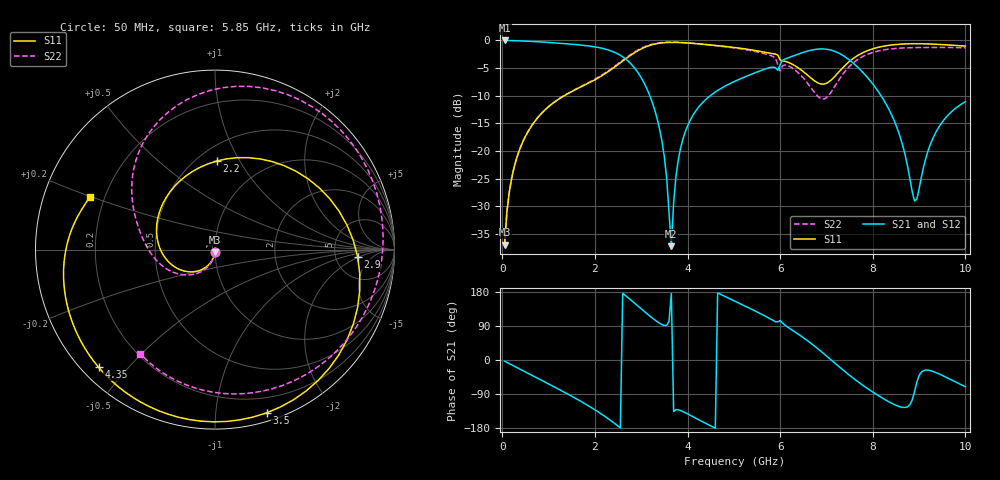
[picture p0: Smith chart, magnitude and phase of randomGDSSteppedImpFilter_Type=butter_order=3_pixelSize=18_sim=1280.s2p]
! freq	dB(S11)	phase(S11)	dB(S12)	phase(S12)
!  dB(S21)	phase(S21)	dB(S22)	phase(S22)
!S-par simulation data
#  GHz  S  DB  R 50
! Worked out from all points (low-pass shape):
!   200 points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, 50 MHz to 10 GHz, reference 50 ohm
!   highest |S21| = -0.01 dB at 50 MHz (marker M1); lowest = -37.2 dB at 3.65 GHz (marker M2)
!   |S21| within 3 dB of the highest: start of sweep to 2.607 GHz; 6.216 GHz to 7.409 GHz (1.193 GHz wide, 17.5 % of centre)
!   lowest |S11| = -36.9 dB at 50 MHz (marker M3), VSWR 1.03, Z = 49.9 - j1.42 ohm
!   |S11| at or under -10 dB: start of sweep to 1.337 GHz
!   |S22| runs from -36.9 to -0.3 dB; largest |S21 - S12| = 0
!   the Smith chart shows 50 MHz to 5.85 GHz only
!   S11 on the Smith chart (normalised r, x): 50 MHz: 1.00, -0.03; 2.2 GHz: 0.62, +0.81; 2.9 GHz: 8.38, -1.80; 3.5 GHz: 0.07, -1.36; 4.35 GHz: 0.05, -0.42; 5.85 GHz: 0.14, +0.20
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0.05  -36.93 -92.7  -0.01 -3.2  -0.01 -3.2  -36.93 -92.3
0.2  -25.03 -103.6  -0.03 -12.7  -0.03 -12.7  -25.02 -102.1
0.5  -17.35 -124.1  -0.12 -31.6  -0.12 -31.6  -17.34 -120.0
1.15  -11.01 -170.6  -0.46 -72.8  -0.46 -72.8  -10.98 -156.3
1.75  -8.20 137.8  -0.89 -113.0  -0.89 -113.0  -8.12 174.6
2.2  -6.12 88.6  -1.51 -147.5  -1.51 -147.5  -5.99 154.3
2.9  -1.99 -2.8  -5.47 145.3  -5.47 145.3  -1.85 109.0
3.4  -0.50 -62.5  -16.17 96.8  -16.17 96.8  -0.41 64.8
3.5  -0.41 -72.5  -21.12 91.0  -21.12 91.0  -0.33 56.1
3.65  -0.36 -86.2  -37.22 175.3  -37.22 175.3  -0.30 43.4
3.85  -0.39 -102.4  -19.48 -133.3  -19.48 -133.3  -0.35 27.1
4.35  -0.70 -134.7  -11.04 -164.5  -11.04 -164.5  -0.71 -10.7
5.05  -1.32 -169.0  -7.28 153.5  -7.28 153.5  -1.41 -60.6
5.85  -2.42 157.1  -4.83 104.2  -4.83 104.2  -2.93 -125.6
6.35  -4.74 140.7  -2.59 71.6  -2.59 71.6  -5.56 -171.0
6.7  -7.04 138.3  -1.71 40.9  -1.71 40.9  -8.95 130.0
7.3  -5.41 158.2  -2.45 -20.5  -2.45 -20.5  -6.74 -30.1
7.8  -2.16 140.7  -5.91 -67.9  -5.91 -67.9  -2.84 -107.6
8.35  -0.89 114.8  -12.49 -110.4  -12.49 -110.4  -1.58 -175.1
8.9  -0.59 90.1  -29.03 -84.6  -29.03 -84.6  -1.30 118.7
9.15  -0.62 79.4  -21.17 -26.6  -21.17 -26.6  -1.27 88.9
10  -1.03 44.9  -11.07 -70.7  -11.07 -70.7  -1.33 1.7
